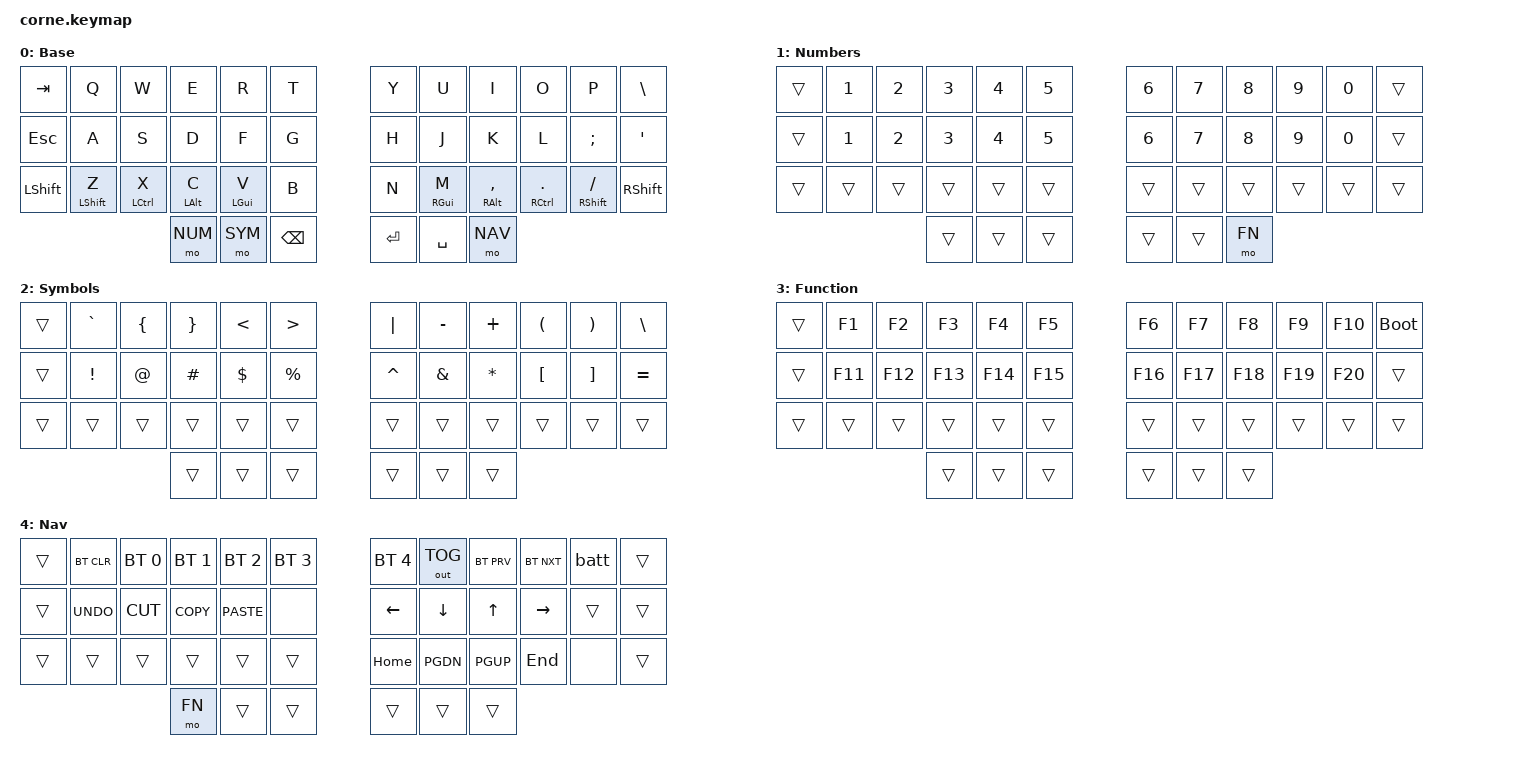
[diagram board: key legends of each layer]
#include <behaviors.dtsi>
#include <dt-bindings/zmk/keys.h>
#include <dt-bindings/zmk/bt.h>
#include <dt-bindings/zmk/outputs.h>
#include <behaviors/battery_output.dtsi>

#define BASE 0
#define NUM  1
#define SYM  2
#define FN   3
#define NAV  4

/ {
    behaviors {
        brm: bottom_row_mods {
            compatible = "zmk,behavior-hold-tap";
            label = "BOTTOM_ROW_MODS";
            #binding-cells = <2>;
            flavor = "tap-preferred";
            tapping-term-ms = <200>;
            quick-tap-ms = <150>;
            bindings = <&kp>, <&kp>;
        };
    };

    keymap {
        compatible = "zmk,keymap";

        base_layer {
            display-name = "Base";
            bindings = <
                &kp TAB      &kp Q             &kp W             &kp E            &kp R            &kp T             &kp Y       &kp U             &kp I              &kp O             &kp P             &kp BSLH
                &kp ESC      &kp A             &kp S             &kp D            &kp F            &kp G             &kp H       &kp J             &kp K              &kp L             &kp SEMI          &kp SQT
                &kp LSHFT    &brm LSHFT Z      &brm LCTRL X      &brm LALT C      &brm LGUI V      &kp B             &kp N       &brm RGUI M      &brm RALT COMMA    &brm RCTRL DOT    &brm RSHFT FSLH   &kp RSHFT
                                                            &mo NUM          &mo SYM         &kp BSPC          &kp RET     &kp SPACE         &mo NAV
            >;
        };

        numbers_layer {
            display-name = "Numbers";
            bindings = <
                &trans       &kp N1            &kp N2            &kp N3           &kp N4           &kp N5            &kp N6      &kp N7            &kp N8             &kp N9            &kp N0            &trans
                &trans       &kp N1            &kp N2            &kp N3           &kp N4           &kp N5            &kp N6      &kp N7            &kp N8             &kp N9            &kp N0            &trans
                &trans       &trans            &trans            &trans           &trans           &trans            &trans      &trans            &trans             &trans            &trans            &trans
                                                            &trans          &trans          &trans           &trans     &trans           &mo FN
            >;
        };

        symbols_layer {
            display-name = "Symbols";
            bindings = <
                &trans       &kp GRAVE         &kp LBRC          &kp RBRC         &kp LESS_THAN    &kp GREATER_THAN &kp PIPE    &kp MINUS        &kp PLUS           &kp LPAR          &kp RPAR          &kp BSLH
                &trans       &kp EXCL          &kp AT            &kp HASH         &kp DLLR         &kp PRCNT         &kp CARET   &kp AMPS          &kp ASTRK          &kp LBKT          &kp RBKT          &kp EQUAL
                &trans       &trans            &trans            &trans           &trans           &trans            &trans      &trans            &trans             &trans            &trans            &trans
                                                            &trans          &trans          &trans           &trans     &trans           &trans
            >;
        };

        function_layer {
            display-name = "Function";
            bindings = <
                &trans       &kp F1            &kp F2            &kp F3           &kp F4           &kp F5            &kp F6      &kp F7            &kp F8             &kp F9            &kp F10           &bootloader
                &trans       &kp F11           &kp F12           &kp F13          &kp F14          &kp F15           &kp F16     &kp F17           &kp F18            &kp F19           &kp F20           &trans
                &trans       &trans            &trans            &trans           &trans           &trans            &trans      &trans            &trans             &trans            &trans            &trans
                                                            &trans          &trans          &trans           &trans     &trans           &trans
            >;
        };

        navigation_layer {
            display-name = "Nav";
            bindings = <
                &trans       &bt BT_CLR        &bt BT_SEL 0      &bt BT_SEL 1     &bt BT_SEL 2     &bt BT_SEL 3      &bt BT_SEL 4 &out OUT_TOG     &bt BT_PRV        &bt BT_NXT       &batt            &trans
                &trans       &kp K_UNDO        &kp K_CUT         &kp K_COPY       &kp K_PASTE      &none             &kp LEFT    &kp DOWN          &kp UP            &kp RIGHT         &trans           &trans
                &trans       &trans            &trans            &trans           &trans           &trans            &kp HOME    &kp PGDN          &kp PGUP          &kp END           &none            &trans
                                                            &mo FN           &trans          &trans           &trans     &trans           &trans
            >;
        };
    };
};
